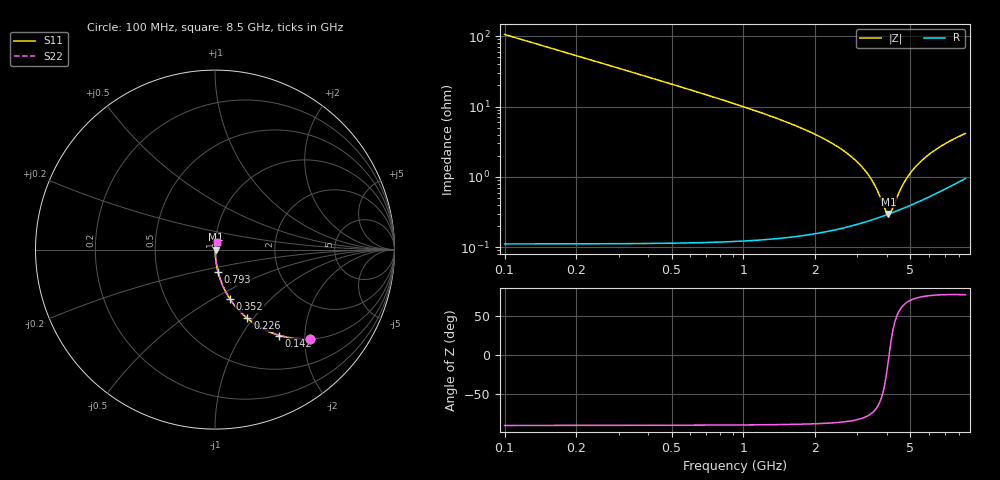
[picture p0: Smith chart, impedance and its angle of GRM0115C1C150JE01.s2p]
!Murata Part Number: GRM0115C1C150JE01
!These Parameters are Measured in Series Mode Connection
!Data Generated on Mar 30, 2021
!  o--ll--o
!Port1  Port2
!  o------o
!Operation Temp=25[degC], DC Bias Voltage=0[V]
!Freq. Start=100[MHz] Stop=9[GHz] 401[Steps]
# Hz S RI R 50
!Freq.(Hz) S11(Real) S11(Imag) S21(Real) S21(Imag) S12(Real) S12(Imag) S22(Real) S22(Imag)
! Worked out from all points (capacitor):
!   401 points, 100 MHz to 8.5 GHz, reference 50 ohm
!   read as one part in series: C = 15 pF near 142 MHz
!   lowest |Z| = 297 mohm at 4.048 GHz (marker M1)
!   series resonance near 4.072 GHz, so ESL is about 100 pH
!   S11 on the Smith chart (normalised r, x): 100 MHz: 1.00, -2.12; 142 MHz: 1.00, -1.49; 226 MHz: 1.00, -0.94; 352 MHz: 1.00, -0.60; 793 MHz: 1.00, -0.26; 8.5 GHz: 1.02, +0.08
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1e8  0.5293 -0.4986  0.4707 0.4986  0.4707 0.4986  0.5293 -0.4986
1.42e8  0.3579 -0.4786  0.6421 0.4786  0.6421 0.4786  0.3579 -0.4786
1.84e8  0.2492 -0.4316  0.7508 0.4316  0.7508 0.4316  0.2492 -0.4316
2.26e8  0.1803 -0.3832  0.8197 0.3832  0.8197 0.3832  0.1803 -0.3832
3.52e8  0.083 -0.274  0.917 0.274  0.917 0.274  0.083 -0.274
5.41e8  0.0368 -0.1853  0.9632 0.1853  0.9632 0.1853  0.0368 -0.1853
7.93e8  0.0174 -0.1263  0.9826 0.1263  0.9826 0.1263  0.0174 -0.1263
1.507e9  0.00502 -0.0603  0.995 0.0603  0.995 0.0603  0.00502 -0.0603
2.914e9  0.00237 -0.0176  0.9976 0.0176  0.9976 0.0176  0.00237 -0.0176
3.418e9  0.0025 -0.00909  0.9975 0.00909  0.9975 0.00909  0.0025 -0.00909
3.628e9  0.00262 -0.00597  0.9974 0.00597  0.9974 0.00597  0.00262 -0.00597
3.922e9  0.00284 -0.00194  0.9972 0.00194  0.9972 0.00194  0.00284 -0.00194
4.048e9  0.00295 -0.00031  0.9971 0.00031  0.9971 0.00031  0.00295 -0.00031
4.153e9  0.00305 0.00101  0.997 -0.00101  0.997 -0.00101  0.00305 0.00101
4.3e9  0.00319 0.0028  0.9968 -0.0028  0.9968 -0.0028  0.00319 0.0028
4.573e9  0.0035 0.00596  0.9965 -0.00596  0.9965 -0.00596  0.0035 0.00596
4.867e9  0.00386 0.00918  0.9961 -0.00918  0.9961 -0.00918  0.00386 0.00918
5.245e9  0.00438 0.0131  0.9956 -0.0131  0.9956 -0.0131  0.00438 0.0131
5.707e9  0.0051 0.0175  0.9949 -0.0175  0.9949 -0.0175  0.0051 0.0175
6.337e9  0.0062 0.0231  0.9938 -0.0231  0.9938 -0.0231  0.0062 0.0231
7.114e9  0.00775 0.0295  0.9922 -0.0295  0.9922 -0.0295  0.00775 0.0295
8.5e9  0.011 0.0397  0.989 -0.0397  0.989 -0.0397  0.011 0.0397
